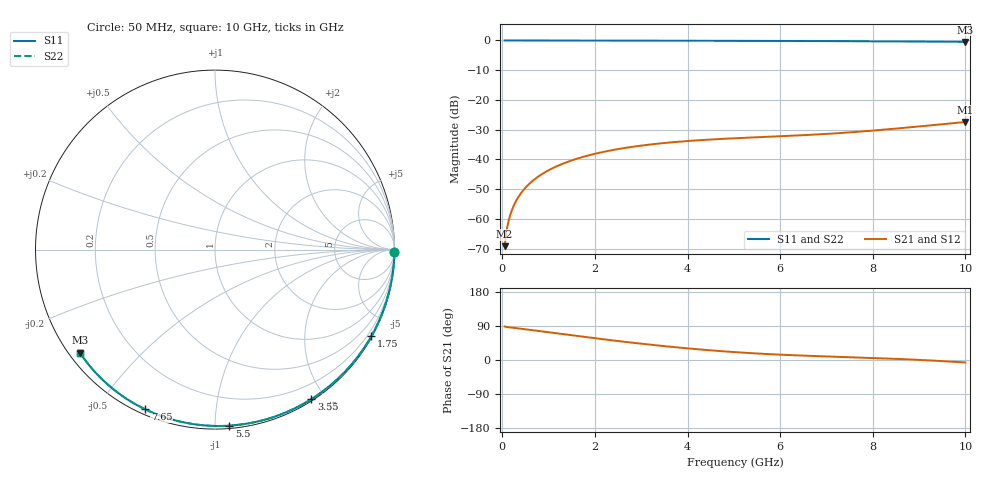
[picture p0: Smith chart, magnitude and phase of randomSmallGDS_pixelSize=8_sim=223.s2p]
! freq	dB(S11)	phase(S11)	dB(S12)	phase(S12)
!  dB(S21)	phase(S21)	dB(S22)	phase(S22)
!S-par simulation data
#  GHz  S  DB  R 50
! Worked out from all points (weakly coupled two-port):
!   200 points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, 50 MHz to 10 GHz, reference 50 ohm
!   highest |S21| = -27.41 dB at 10 GHz (marker M1); lowest = -69.2 dB at 50 MHz (marker M2)
!   lowest |S11| = -0.5 dB at 10 GHz (marker M3), VSWR 36.67, Z = 1.52 - j16.9 ohm
!   |S11| at or under -10 dB: nowhere
!   |S22| runs from -0.5 to 0.0 dB; largest |S21 - S12| = 0
!   S11 on the Smith chart (normalised r, x): 50 MHz: open; 1.75 GHz: 0.03, -3.87; 3.55 GHz: 0.02, -1.83; 5.5 GHz: 0.02, -1.08; 7.65 GHz: 0.02, -0.65; 10 GHz: 0.03, -0.34
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0.05  -0.00 -0.8  -69.16 88.3  -69.16 88.3  -0.00 -0.8
0.1  -0.00 -1.7  -63.24 87.1  -63.24 87.1  -0.00 -1.7
0.15  -0.00 -2.5  -59.79 86.2  -59.79 86.2  -0.00 -2.5
0.2  -0.00 -3.4  -57.35 85.5  -57.35 85.5  -0.00 -3.4
0.25  -0.00 -4.2  -55.44 84.8  -55.44 84.8  -0.00 -4.2
0.35  -0.00 -5.9  -52.57 83.3  -52.57 83.3  -0.00 -5.9
0.5  -0.01 -8.4  -49.51 81.1  -49.51 81.1  -0.01 -8.4
0.7  -0.01 -11.7  -46.64 77.9  -46.64 77.9  -0.01 -11.7
1  -0.02 -16.7  -43.63 73.1  -43.63 73.1  -0.02 -16.7
1.35  -0.03 -22.5  -41.16 67.5  -41.16 67.5  -0.03 -22.5
1.75  -0.04 -29.0  -39.11 61.3  -39.11 61.3  -0.04 -29.0
2.5  -0.05 -41.0  -36.52 50.0  -36.52 50.0  -0.05 -41.0
3.4  -0.07 -54.9  -34.63 37.8  -34.63 37.8  -0.07 -55.0
3.55  -0.08 -57.2  -34.40 36.0  -34.40 36.0  -0.08 -57.2
4.3  -0.10 -68.4  -33.49 27.5  -33.49 27.5  -0.10 -68.4
5.05  -0.12 -79.1  -32.86 20.6  -32.86 20.6  -0.12 -79.1
5.5  -0.14 -85.4  -32.55 17.2  -32.55 17.2  -0.14 -85.4
6.7  -0.20 -101.5  -31.68 10.7  -31.68 10.7  -0.20 -101.5
7.65  -0.26 -113.7  -30.73 6.9  -30.73 6.9  -0.26 -113.7
8.35  -0.31 -122.4  -29.84 3.8  -29.84 3.8  -0.31 -122.4
9.2  -0.39 -132.9  -28.61 -0.9  -28.61 -0.9  -0.39 -132.9
10  -0.47 -142.6  -27.41 -6.5  -27.41 -6.5  -0.47 -142.7
